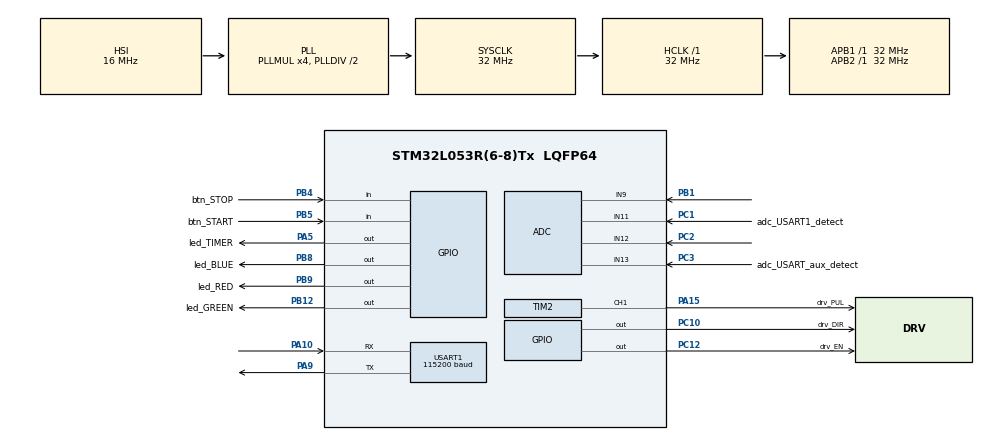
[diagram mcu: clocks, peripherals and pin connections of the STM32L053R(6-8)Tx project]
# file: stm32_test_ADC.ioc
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ADC.ClockPrescaler=ADC_CLOCK_ASYNC_DIV8
ADC.ContinuousConvMode=DISABLE
ADC.DMAContinuousRequests=DISABLE
ADC.DiscontinuousConvMode=DISABLE
ADC.EOCSelection=ADC_EOC_SINGLE_CONV
ADC.Overrun=ADC_OVR_DATA_PRESERVED
ADC.SamplingTime=ADC_SAMPLETIME_12CYCLES_5
Dma.ADC.2.Direction=DMA_PERIPH_TO_MEMORY
Dma.ADC.2.Instance=DMA1_Channel1
Dma.ADC.2.MemDataAlignment=DMA_MDATAALIGN_HALFWORD
Dma.ADC.2.MemInc=DMA_MINC_ENABLE
Dma.ADC.2.Mode=DMA_NORMAL
Dma.ADC.2.PeriphDataAlignment=DMA_PDATAALIGN_HALFWORD
Dma.ADC.2.PeriphInc=DMA_PINC_DISABLE
Dma.ADC.2.Priority=DMA_PRIORITY_LOW
Dma.Request0=USART1_RX
Dma.Request1=USART1_TX
Dma.Request2=ADC
Dma.USART1_RX.0.Direction=DMA_PERIPH_TO_MEMORY
Dma.USART1_RX.0.Instance=DMA1_Channel3
Dma.USART1_RX.0.MemDataAlignment=DMA_MDATAALIGN_BYTE
Dma.USART1_RX.0.MemInc=DMA_MINC_ENABLE
Dma.USART1_RX.0.Mode=DMA_NORMAL
Dma.USART1_RX.0.PeriphDataAlignment=DMA_PDATAALIGN_BYTE
Dma.USART1_RX.0.PeriphInc=DMA_PINC_DISABLE
Dma.USART1_RX.0.Priority=DMA_PRIORITY_LOW
Dma.USART1_TX.1.Direction=DMA_MEMORY_TO_PERIPH
Dma.USART1_TX.1.Instance=DMA1_Channel2
Dma.USART1_TX.1.MemDataAlignment=DMA_MDATAALIGN_BYTE
Dma.USART1_TX.1.MemInc=DMA_MINC_ENABLE
Dma.USART1_TX.1.Mode=DMA_NORMAL
Dma.USART1_TX.1.PeriphDataAlignment=DMA_PDATAALIGN_BYTE
Dma.USART1_TX.1.PeriphInc=DMA_PINC_DISABLE
Dma.USART1_TX.1.Priority=DMA_PRIORITY_LOW
Mcu.Family=STM32L0
Mcu.Name=STM32L053R(6-8)Tx
Mcu.Package=LQFP64
NVIC.DMA1_Channel1_IRQn=true\:0\:0\:false\:false\:true\:false\:true\:true
NVIC.DMA1_Channel2_3_IRQn=true\:0\:0\:false\:false\:true\:false\:true\:true
NVIC.TIM21_IRQn=true\:0\:0\:false\:false\:true\:true\:true\:true
NVIC.TIM2_IRQn=true\:0\:0\:false\:false\:true\:true\:true\:true
NVIC.TIM6_DAC_IRQn=true\:0\:0\:false\:false\:true\:true\:true\:true
NVIC.USART1_IRQn=true\:0\:0\:false\:false\:true\:true\:true\:true
PA10.Mode=Asynchronous
PA10.Signal=USART1_RX
PA15.GPIO_Label=drv_PUL
PA15.GPIO_Speed=GPIO_SPEED_FREQ_HIGH
PA15.Signal=S_TIM2_CH1
PA5.GPIO_Label=led_TIMER
PA5.Signal=GPIO_Output
PA9.Mode=Asynchronous
PA9.Signal=USART1_TX
PB1.Mode=IN9
PB1.Signal=ADC_IN9
PB12.GPIO_Label=led_GREEN
PB12.Signal=GPIO_Output
PB4.GPIO_Label=btn_STOP
PB4.Signal=GPIO_Input
PB5.GPIO_Label=btn_START
PB5.GPIO_PuPd=GPIO_PULLUP
PB5.Signal=GPIO_Input
PB8.GPIO_Label=led_BLUE
PB8.Signal=GPIO_Output
PB9.GPIO_Label=led_RED
PB9.Signal=GPIO_Output
PC1.GPIO_Label=adc_USART1_detect
PC1.Mode=IN11
PC1.Signal=ADC_IN11
PC10.GPIO_Label=drv_DIR
PC10.Signal=GPIO_Output
PC12.GPIO_Label=drv_EN
PC12.Signal=GPIO_Output
PC2.Mode=IN12
PC2.Signal=ADC_IN12
PC3.GPIO_Label=adc_USART_aux_detect
PC3.Mode=IN13
PC3.Signal=ADC_IN13
ProjectManager.HeapSize=0x200
ProjectManager.StackSize=0x400
ProjectManager.TargetToolchain=MDK-ARM V5.32
RCC.AHBFreq_Value=32000000
RCC.APB1Freq_Value=32000000
RCC.APB1TimFreq_Value=32000000
RCC.APB2Freq_Value=32000000
RCC.APB2TimFreq_Value=32000000
RCC.HCLKFreq_Value=32000000
RCC.HSE_VALUE=8000000
RCC.HSI16_VALUE=16000000
RCC.HSI48_VALUE=48000000
RCC.HSI_VALUE=16000000
RCC.LSE_VALUE=32768
RCC.MSI_VALUE=2097000
RCC.PLLMUL=RCC_PLLMUL_4
RCC.SYSCLKFreq_VALUE=32000000
RCC.SYSCLKSource=RCC_SYSCLKSOURCE_PLLCLK
RCC.VCOOutputFreq_Value=64000000
SH.S_TIM2_CH1.0=TIM2_CH1,PWM Generation1 CH1
TIM2.AutoReloadPreload=TIM_AUTORELOAD_PRELOAD_ENABLE
TIM2.Channel-PWM\ Generation1\ CH1=TIM_CHANNEL_1
TIM2.Period=2000
TIM2.Pulse-PWM\ Generation1\ CH1=100
TIM21.AutoReloadPreload=TIM_AUTORELOAD_PRELOAD_ENABLE
TIM21.TIM_MasterOutputTrigger=TIM_TRGO_UPDATE
TIM6.AutoReloadPreload=TIM_AUTORELOAD_PRELOAD_ENABLE
TIM6.Period=499
TIM6.Prescaler=31999
TIM6.TIM_MasterOutputTrigger=TIM_TRGO_UPDATE
USART1.BaudRate=115200
USART1.VirtualMode-Asynchronous=VM_ASYNC
VP_TIM21_VS_ClockSourceINT.Mode=Internal
VP_TIM2_VS_ClockSourceINT.Mode=Internal
VP_TIM6_VS_ClockSourceINT.Mode=Enable_Timer
board=custom

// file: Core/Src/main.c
/* USER CODE BEGIN Header */
/**
  ******************************************************************************
  * @file           : main.c
  * @brief          : Main program body
  ******************************************************************************
  * @attention
  *
  * Copyright (c) 2022 STMicroelectronics.
  * All rights reserved.
  *
  * This software is licensed under terms that can be found in the LICENSE file
  * in the root directory of this software component.
  * If no LICENSE file comes with this software, it is provided AS-IS.
  *
  ******************************************************************************
  */
/* USER CODE END Header */
#include "main.h"

/* USER CODE BEGIN PD */

//
/* USER CODE END PD */

 ADC_HandleTypeDef hadc;
DMA_HandleTypeDef hdma_adc;

TIM_HandleTypeDef htim2;
TIM_HandleTypeDef htim6;
TIM_HandleTypeDef htim21;

UART_HandleTypeDef huart1;
DMA_HandleTypeDef hdma_usart1_rx;
DMA_HandleTypeDef hdma_usart1_tx;

/* USER CODE BEGIN PV */

volatile uint16_t ADC_data[4] = {0,0,0,0}; // у нас два канала поэтому массив из двух элементов
volatile uint8_t flag_ADC_DMA = 0;

/* USER CODE END PV */

void SystemClock_Config(void);
static void MX_GPIO_Init(void);
static void MX_TIM6_Init(void);
static void MX_DMA_Init(void);
static void MX_USART1_UART_Init(void);
static void MX_TIM2_Init(void);
static void MX_TIM21_Init(void);
static void MX_ADC_Init(void);

/* USER CODE BEGIN 0 */
void HAL_UART_RxCpltCallback(UART_HandleTypeDef *huart)
{

}

/* USER CODE END 0 */

int main(void)
{
  /* USER CODE BEGIN 1 */
	float voltage_USART1_detect = 0;
	float voltage_USART1_detect_old = 0;
	float voltage_BUS_VOLT = 0;
	float voltage_MOTOR_VOLT = 0;

	float voltage_USART2_detect = 0;
	float voltage_USART2_detect_old = 0;
	float voltage_BUS_VOLT_old = 0;
	float voltage_MOTOR_VOLT_old = 0;

	float Vmotor = 1.73f;
	float Vusb = 2.5f;
	float Vbus_volt = 2.6f;

	uint16_t i = 0;
	uint16_t i_old = 0;
	char str[100];
	//float ADC_diff_Value_TRESHHOLD = 0.03f;

  /* USER CODE END 1 */

  /* MCU Configuration--------------------------------------------------------*/

  /* Reset of all peripherals, Initializes the Flash interface and the Systick. */
  HAL_Init();

  /* Configure the system clock */
  SystemClock_Config();

  /* Initialize all configured peripherals */
  MX_GPIO_Init();
  MX_TIM6_Init();
  MX_DMA_Init();
  MX_USART1_UART_Init();
  MX_TIM2_Init();
  MX_TIM21_Init();
  MX_ADC_Init();
  /* USER CODE BEGIN 2 */

	HAL_TIM_Base_Start_IT(&htim6);
	HAL_TIM_Base_Start_IT(&htim21);
	//HAL_TIM_PWM_Start(&htim2, TIM_CHANNEL_1); // Запустить pwm на таймере 2, 1 канале
	//HAL_UART_Receive_IT(&huart1, rx_buffer, 1);//Разрешаем прием данных, размером в 1 символ.

	HAL_ADCEx_Calibration_Start(&hadc,ADC_SINGLE_ENDED); // калибровка АЦП
	//HAL_ADC_Start(&hadc);
	HAL_ADC_Start_DMA(&hadc, (uint32_t*)&ADC_data, 4); // стартуем АЦП
	//HAL_ADC_Start(&hadc);
	//HAL_ADC_Start_IT(&hadc); // Включим прерывание АЦП
	HAL_Delay(500);
//	sprintf((char *)str, "ADC Ch9 = %.2f V\t\tADC Ch11 = %.2f V\t\tADC Ch12 = %.2f V\t\tADC Ch13 = %.2f V\n",15.5,15.5,15.5,15.5);
//	HAL_UART_Transmit(&huart1, (uint8_t *)str, strlen((char *)str), 100);
  /* USER CODE END 2 */

  /* Infinite loop */
  /* USER CODE BEGIN WHILE */
  while (1)
  {

		//===========Ручной опрос АЦП=================
		//HAL_ADC_Start(&hadc);
		//HAL_ADCEx_Calibration_Start(&hadc,ADC_SINGLE_ENDED); // калибровка АЦП
	//	HAL_ADC_PollForConversion(&hadc,100);
		//voltage_USART1_detect = (float)HAL_ADC_GetValue(&hadc)*3/4096;

		if (flag_ADC_DMA)
		{
			flag_ADC_DMA = 0;
			HAL_ADC_Stop_DMA(&hadc); // это необязательно

			voltage_MOTOR_VOLT = (float)((3/4096)*ADC_data[0]*6.3f);
			voltage_USART1_detect = (float)((3/4096)*ADC_data[1]*1.6f);
			voltage_BUS_VOLT = (float)((3/4096)*ADC_data[2]*2.5f);
			voltage_USART2_detect = (float)((3/4096)*ADC_data[3]*1.6f);
			/*
			voltage_MOTOR_VOLT = (float)ADC_data[0]*3*11/4096;
			voltage_USART1_detect = (float)ADC_data[1]*3*2/4096;
			voltage_BUS_VOLT = (float)ADC_data[2]*3*2.9f/4096;
			voltage_USART2_detect = (float)ADC_data[3]*3*2/4096;
			*/
			/*
			if ( ( ((voltage_USART1_detect - voltage_USAR
			T1_detect_old) >= 0.05f) || ((voltage_USART1_detect_old - voltage_USART1_detect) >= 0.05f) )
				 ||  ((voltage_USART2_detect - voltage_USART2_detect_old) >= 0.05f) || ((voltage_USART2_detect_old - voltage_USART2_detect) >= 0.05f) )
			*/

			if (((voltage_USART1_detect - voltage_USART1_detect_old) >= 0.05f) ||((voltage_USART1_detect_old - voltage_USART1_detect) >= 0.05f) ||
				 ((voltage_USART2_detect - voltage_USART2_detect_old) >= 0.05f)  ||((voltage_USART2_detect_old - voltage_USART2_detect) >= 0.05f) ||
				 ((voltage_BUS_VOLT - voltage_BUS_VOLT_old) >= 0.1f)             ||((voltage_BUS_VOLT_old - voltage_BUS_VOLT) >= 0.1f) ||
				 ((voltage_MOTOR_VOLT - voltage_MOTOR_VOLT_old) >= 0.1f)         ||((voltage_MOTOR_VOLT_old - voltage_MOTOR_VOLT) >= 0.1f) )
			{

				//sprintf((char *)str, "ADC Ch11 = %.2f V\t\tADC Ch12 = %.2f V\t\tADC Ch13 = %.2f V\n",voltage_USART1_detect,voltage_BUS_VOLT,voltage_USART2_detect);
				sprintf((char *)str, "ADC Ch9 = %.2f V\t\tADC Ch11 = %.2f V\t\tADC Ch12 = %.2f V\t\tADC Ch13 = %.2f V\n",voltage_MOTOR_VOLT,voltage_USART1_detect,voltage_BUS_VOLT,voltage_USART2_detect);
				HAL_UART_Transmit(&huart1, (uint8_t *)str, strlen((char *)str), 100);
			}

			voltage_USART1_detect_old = voltage_USART1_detect;
			voltage_USART2_detect_old = voltage_USART2_detect;
			voltage_BUS_VOLT_old = voltage_BUS_VOLT;
			voltage_MOTOR_VOLT_old = voltage_MOTOR_VOLT;

			ADC_data[0] = 0;
			ADC_data[1] = 0;
			ADC_data[2] = 0;
			ADC_data[3] = 0;

			HAL_ADC_Start_DMA(&hadc, (uint32_t*)&ADC_data, 4); // стартуем АЦП
	}
		/*
		if (((voltage_USART1_detect - voltage_USART1_detect_old) >= 0.01f) || ((voltage_USART1_detect_old - voltage_USART1_detect) >= 0.01f))
		{
		sprintf((char *)str, "ADV Value = %.2f V\n",voltage_USART1_detect);
		HAL_UART_Transmit(&huart1, (uint8_t *)str, strlen((char *)str), 100);
		voltage_USART1_detect_old = voltage_USART1_detect;
		}
		*/
		//HAL_ADC_Stop(&hadc);

		//===========Ручной опрос АЦП=================

		//=========== опрос АЦП в прерывании===================
		/*
		voltage_USART1_detect = (float)ADC_data*3/4096;
		if (((voltage_USART1_detect - voltage_USART1_detect_old) >= 0.09f) || ((voltage_USART1_detect_old - voltage_USART1_detect) >= 0.09f))
		{
		sprintf((char *)str, "ADV Value = %.2f V\n",voltage_USART1_detect);
		HAL_UART_Transmit(&huart1, (uint8_t *)str, strlen((char *)str), 100);
		voltage_USART1_detect_old = voltage_USART1_detect;
		}
		HAL_Delay(100);
		*/
		//=========== опрос АЦП в прерывании===================

    /* USER CODE END WHILE */

  }
}

void SystemClock_Config(void)
{
  RCC_OscInitTypeDef RCC_OscInitStruct = {0};
  RCC_ClkInitTypeDef RCC_ClkInitStruct = {0};
  RCC_PeriphCLKInitTypeDef PeriphClkInit = {0};

  /** Configure the main internal regulator output voltage
  */
  __HAL_PWR_VOLTAGESCALING_CONFIG(PWR_REGULATOR_VOLTAGE_SCALE1);

  /** Initializes the RCC Oscillators according to the specified parameters
  * in the RCC_OscInitTypeDef structure.
  */
  RCC_OscInitStruct.OscillatorType = RCC_OSCILLATORTYPE_HSI;
  RCC_OscInitStruct.HSIState = RCC_HSI_ON;
  RCC_OscInitStruct.HSICalibrationValue = RCC_HSICALIBRATION_DEFAULT;
  RCC_OscInitStruct.PLL.PLLState = RCC_PLL_ON;
  RCC_OscInitStruct.PLL.PLLSource = RCC_PLLSOURCE_HSI;
  RCC_OscInitStruct.PLL.PLLMUL = RCC_PLLMUL_4;
  RCC_OscInitStruct.PLL.PLLDIV = RCC_PLLDIV_2;
  if (HAL_RCC_OscConfig(&RCC_OscInitStruct) != HAL_OK)
  {
    Error_Handler();
  }

  /** Initializes the CPU, AHB and APB buses clocks
  */
  RCC_ClkInitStruct.ClockType = RCC_CLOCKTYPE_HCLK|RCC_CLOCKTYPE_SYSCLK
                              |RCC_CLOCKTYPE_PCLK1|RCC_CLOCKTYPE_PCLK2;
  RCC_ClkInitStruct.SYSCLKSource = RCC_SYSCLKSOURCE_PLLCLK;
  RCC_ClkInitStruct.AHBCLKDivider = RCC_SYSCLK_DIV1;
  RCC_ClkInitStruct.APB1CLKDivider = RCC_HCLK_DIV1;
  RCC_ClkInitStruct.APB2CLKDivider = RCC_HCLK_DIV1;

  if (HAL_RCC_ClockConfig(&RCC_ClkInitStruct, FLASH_LATENCY_1) != HAL_OK)
  {
    Error_Handler();
  }
  PeriphClkInit.PeriphClockSelection = RCC_PERIPHCLK_USART1;
  PeriphClkInit.Usart1ClockSelection = RCC_USART1CLKSOURCE_PCLK2;
  if (HAL_RCCEx_PeriphCLKConfig(&PeriphClkInit) != HAL_OK)
  {
    Error_Handler();
  }
}

static void MX_ADC_Init(void)
{

  ADC_ChannelConfTypeDef sConfig = {0};

  /** Configure the global features of the ADC (Clock, Resolution, Data Alignment and number of conversion)
  */
  hadc.Instance = ADC1;
  hadc.Init.OversamplingMode = DISABLE;
  hadc.Init.ClockPrescaler = ADC_CLOCK_ASYNC_DIV8;
  hadc.Init.Resolution = ADC_RESOLUTION_12B;
  hadc.Init.SamplingTime = ADC_SAMPLETIME_12CYCLES_5;
  hadc.Init.ScanConvMode = ADC_SCAN_DIRECTION_FORWARD;
  hadc.Init.DataAlign = ADC_DATAALIGN_RIGHT;
  hadc.Init.ContinuousConvMode = DISABLE;
  hadc.Init.DiscontinuousConvMode = DISABLE;
  hadc.Init.ExternalTrigConvEdge = ADC_EXTERNALTRIGCONVEDGE_NONE;
  hadc.Init.ExternalTrigConv = ADC_SOFTWARE_START;
  hadc.Init.DMAContinuousRequests = DISABLE;
  hadc.Init.EOCSelection = ADC_EOC_SINGLE_CONV;
  hadc.Init.Overrun = ADC_OVR_DATA_PRESERVED;
  hadc.Init.LowPowerAutoWait = DISABLE;
  hadc.Init.LowPowerFrequencyMode = ENABLE;
  hadc.Init.LowPowerAutoPowerOff = DISABLE;
  if (HAL_ADC_Init(&hadc) != HAL_OK)
  {
    Error_Handler();
  }

  /** Configure for the selected ADC regular channel to be converted.
  */
  sConfig.Channel = ADC_CHANNEL_9;
  sConfig.Rank = ADC_RANK_CHANNEL_NUMBER;
  if (HAL_ADC_ConfigChannel(&hadc, &sConfig) != HAL_OK)
  {
    Error_Handler();
  }

  /** Configure for the selected ADC regular channel to be converted.
  */
  sConfig.Channel = ADC_CHANNEL_11;
  if (HAL_ADC_ConfigChannel(&hadc, &sConfig) != HAL_OK)
  {
    Error_Handler();
  }

  /** Configure for the selected ADC regular channel to be converted.
  */
  sConfig.Channel = ADC_CHANNEL_12;
  if (HAL_ADC_ConfigChannel(&hadc, &sConfig) != HAL_OK)
  {
    Error_Handler();
  }

  /** Configure for the selected ADC regular channel to be converted.
  */
  sConfig.Channel = ADC_CHANNEL_13;
  if (HAL_ADC_ConfigChannel(&hadc, &sConfig) != HAL_OK)
  {
    Error_Handler();
  }

}

static void MX_TIM2_Init(void)
{

  TIM_ClockConfigTypeDef sClockSourceConfig = {0};
  TIM_MasterConfigTypeDef sMasterConfig = {0};
  TIM_OC_InitTypeDef sConfigOC = {0};

  htim2.Instance = TIM2;
  htim2.Init.Prescaler = 0;
  htim2.Init.CounterMode = TIM_COUNTERMODE_UP;
  htim2.Init.Period = 2000;
  htim2.Init.ClockDivision = TIM_CLOCKDIVISION_DIV1;
  htim2.Init.AutoReloadPreload = TIM_AUTORELOAD_PRELOAD_ENABLE;
  if (HAL_TIM_Base_Init(&htim2) != HAL_OK)
  {
    Error_Handler();
  }
  sClockSourceConfig.ClockSource = TIM_CLOCKSOURCE_INTERNAL;
  if (HAL_TIM_ConfigClockSource(&htim2, &sClockSourceConfig) != HAL_OK)
  {
    Error_Handler();
  }
  if (HAL_TIM_PWM_Init(&htim2) != HAL_OK)
  {
    Error_Handler();
  }
  sMasterConfig.MasterOutputTrigger = TIM_TRGO_RESET;
  sMasterConfig.MasterSlaveMode = TIM_MASTERSLAVEMODE_DISABLE;
  if (HAL_TIMEx_MasterConfigSynchronization(&htim2, &sMasterConfig) != HAL_OK)
  {
    Error_Handler();
  }
  sConfigOC.OCMode = TIM_OCMODE_PWM1;
  sConfigOC.Pulse = 100;
  sConfigOC.OCPolarity = TIM_OCPOLARITY_HIGH;
  sConfigOC.OCFastMode = TIM_OCFAST_DISABLE;
  if (HAL_TIM_PWM_ConfigChannel(&htim2, &sConfigOC, TIM_CHANNEL_1) != HAL_OK)
  {
    Error_Handler();
  }
  HAL_TIM_MspPostInit(&htim2);

}

static void MX_TIM6_Init(void)
{

  TIM_MasterConfigTypeDef sMasterConfig = {0};

  htim6.Instance = TIM6;
  htim6.Init.Prescaler = 31999;
  htim6.Init.CounterMode = TIM_COUNTERMODE_UP;
  htim6.Init.Period = 499;
  htim6.Init.AutoReloadPreload = TIM_AUTORELOAD_PRELOAD_ENABLE;
  if (HAL_TIM_Base_Init(&htim6) != HAL_OK)
  {
    Error_Handler();
  }
  sMasterConfig.MasterOutputTrigger = TIM_TRGO_UPDATE;
  sMasterConfig.MasterSlaveMode = TIM_MASTERSLAVEMODE_DISABLE;
  if (HAL_TIMEx_MasterConfigSynchronization(&htim6, &sMasterConfig) != HAL_OK)
  {
    Error_Handler();
  }

}

static void MX_TIM21_Init(void)
{

  TIM_ClockConfigTypeDef sClockSourceConfig = {0};
  TIM_MasterConfigTypeDef sMasterConfig = {0};

  htim21.Instance = TIM21;
  htim21.Init.Prescaler = 0;
  htim21.Init.CounterMode = TIM_COUNTERMODE_UP;
  htim21.Init.Period = 65535;
  htim21.Init.ClockDivision = TIM_CLOCKDIVISION_DIV1;
  htim21.Init.AutoReloadPreload = TIM_AUTORELOAD_PRELOAD_ENABLE;
  if (HAL_TIM_Base_Init(&htim21) != HAL_OK)
  {
    Error_Handler();
  }
  sClockSourceConfig.ClockSource = TIM_CLOCKSOURCE_INTERNAL;
  if (HAL_TIM_ConfigClockSource(&htim21, &sClockSourceConfig) != HAL_OK)
  {
    Error_Handler();
  }
  sMasterConfig.MasterOutputTrigger = TIM_TRGO_UPDATE;
  sMasterConfig.MasterSlaveMode = TIM_MASTERSLAVEMODE_DISABLE;
  if (HAL_TIMEx_MasterConfigSynchronization(&htim21, &sMasterConfig) != HAL_OK)
  {
    Error_Handler();
  }

}

static void MX_USART1_UART_Init(void)
{

  huart1.Instance = USART1;
  huart1.Init.BaudRate = 115200;
  huart1.Init.WordLength = UART_WORDLENGTH_8B;
  huart1.Init.StopBits = UART_STOPBITS_1;
  huart1.Init.Parity = UART_PARITY_NONE;
  huart1.Init.Mode = UART_MODE_TX_RX;
  huart1.Init.HwFlowCtl = UART_HWCONTROL_NONE;
  huart1.Init.OverSampling = UART_OVERSAMPLING_16;
  huart1.Init.OneBitSampling = UART_ONE_BIT_SAMPLE_DISABLE;
  huart1.AdvancedInit.AdvFeatureInit = UART_ADVFEATURE_NO_INIT;
  if (HAL_UART_Init(&huart1) != HAL_OK)
  {
    Error_Handler();
  }

}

static void MX_DMA_Init(void)
{

  /* DMA controller clock enable */
  __HAL_RCC_DMA1_CLK_ENABLE();

  /* DMA interrupt init */
  /* DMA1_Channel1_IRQn interrupt configuration */
  HAL_NVIC_SetPriority(DMA1_Channel1_IRQn, 0, 0);
  HAL_NVIC_EnableIRQ(DMA1_Channel1_IRQn);
  /* DMA1_Channel2_3_IRQn interrupt configuration */
  HAL_NVIC_SetPriority(DMA1_Channel2_3_IRQn, 0, 0);
  HAL_NVIC_EnableIRQ(DMA1_Channel2_3_IRQn);

}

static void MX_GPIO_Init(void)
{
  GPIO_InitTypeDef GPIO_InitStruct = {0};

  /* GPIO Ports Clock Enable */
  __HAL_RCC_GPIOC_CLK_ENABLE();
  __HAL_RCC_GPIOA_CLK_ENABLE();
  __HAL_RCC_GPIOB_CLK_ENABLE();

  /*Configure GPIO pin Output Level */
  HAL_GPIO_WritePin(led_TIMER_GPIO_Port, led_TIMER_Pin, GPIO_PIN_RESET);

  /*Configure GPIO pin Output Level */
  HAL_GPIO_WritePin(GPIOB, led_GREEN_Pin|led_BLUE_Pin|led_RED_Pin, GPIO_PIN_RESET);

  /*Configure GPIO pin Output Level */
  HAL_GPIO_WritePin(GPIOC, drv_DIR_Pin|drv_EN_Pin, GPIO_PIN_RESET);

  /*Configure GPIO pin : led_TIMER_Pin */
  GPIO_InitStruct.Pin = led_TIMER_Pin;
  GPIO_InitStruct.Mode = GPIO_MODE_OUTPUT_PP;
  GPIO_InitStruct.Pull = GPIO_NOPULL;
  GPIO_InitStruct.Speed = GPIO_SPEED_FREQ_LOW;
  HAL_GPIO_Init(led_TIMER_GPIO_Port, &GPIO_InitStruct);

  /*Configure GPIO pins : led_GREEN_Pin led_BLUE_Pin led_RED_Pin */
  GPIO_InitStruct.Pin = led_GREEN_Pin|led_BLUE_Pin|led_RED_Pin;
  GPIO_InitStruct.Mode = GPIO_MODE_OUTPUT_PP;
  GPIO_InitStruct.Pull = GPIO_NOPULL;
  GPIO_InitStruct.Speed = GPIO_SPEED_FREQ_LOW;
  HAL_GPIO_Init(GPIOB, &GPIO_InitStruct);

  /*Configure GPIO pins : drv_DIR_Pin drv_EN_Pin */
  GPIO_InitStruct.Pin = drv_DIR_Pin|drv_EN_Pin;
  GPIO_InitStruct.Mode = GPIO_MODE_OUTPUT_PP;
  GPIO_InitStruct.Pull = GPIO_NOPULL;
  GPIO_InitStruct.Speed = GPIO_SPEED_FREQ_LOW;
  HAL_GPIO_Init(GPIOC, &GPIO_InitStruct);

  /*Configure GPIO pin : btn_STOP_Pin */
  GPIO_InitStruct.Pin = btn_STOP_Pin;
  GPIO_InitStruct.Mode = GPIO_MODE_INPUT;
  GPIO_InitStruct.Pull = GPIO_NOPULL;
  HAL_GPIO_Init(btn_STOP_GPIO_Port, &GPIO_InitStruct);

  /*Configure GPIO pin : btn_START_Pin */
  GPIO_InitStruct.Pin = btn_START_Pin;
  GPIO_InitStruct.Mode = GPIO_MODE_INPUT;
  GPIO_InitStruct.Pull = GPIO_PULLUP;
  HAL_GPIO_Init(btn_START_GPIO_Port, &GPIO_InitStruct);

}

/* USER CODE BEGIN 4 */
void HAL_ADC_ConvCpltCallback(ADC_HandleTypeDef* hadc) // коллбек для прерывания АЦП. Сюда попадём, когда преобразование завершится
{
	flag_ADC_DMA = 1;
	//ADC_data = HAL_ADC_GetValue(hadc);
	//HAL_ADC_Start_IT(hadc); // Включим прерывание АЦП
}
/* USER CODE END 4 */

void Error_Handler(void)
{
  __disable_irq();
  while (1)
  {
  }
}
